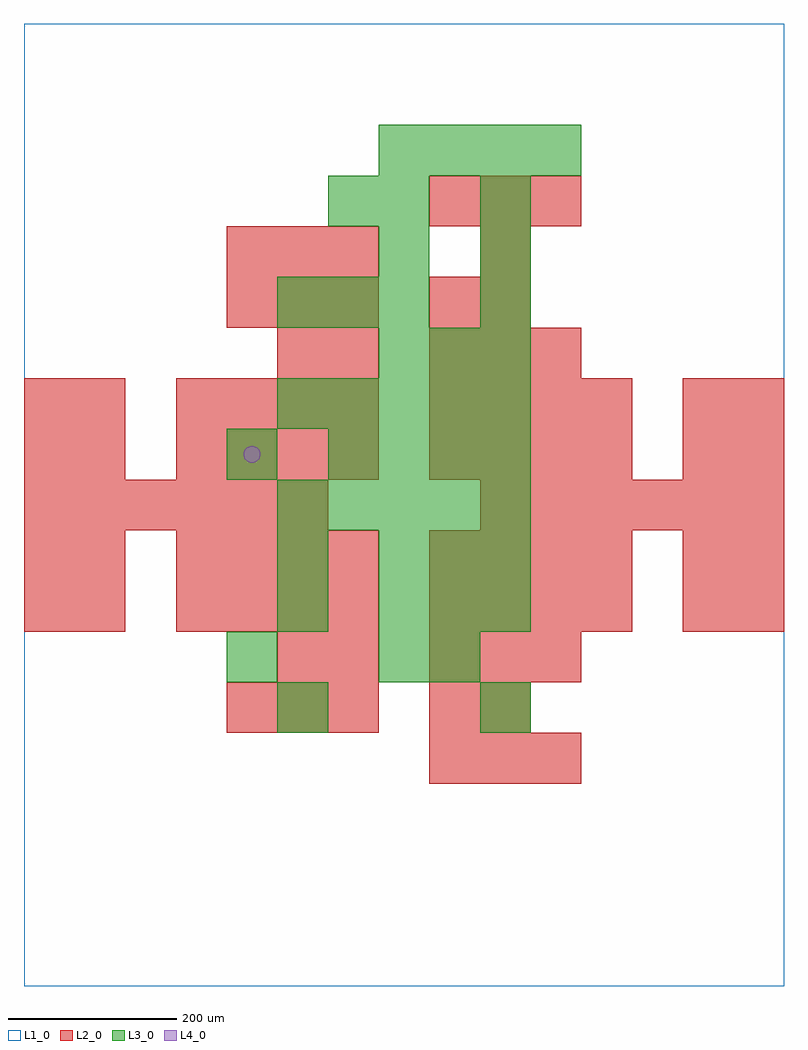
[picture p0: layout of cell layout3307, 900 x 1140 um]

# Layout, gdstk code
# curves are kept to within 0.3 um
import gdstk
lib = gdstk.Library(unit=1e-6, precision=1e-09)
def R(c, l, rs):  # rectangles x0, y0, x1, y1
    for r in rs: c.add(gdstk.rectangle(r[:2], r[2:], *l))
def A(c, l, x, y, w, h, nx, ny, dx, dy):  # array of equal rectangles
    R(c, l, [(x+i*dx, y+j*dy, x+i*dx+w, y+j*dy+h) for i in range(nx) for j in range(ny)])
def P(c, l, *ps):  # polygons
    for p in ps: c.add(gdstk.Polygon(p, *l))
L1_0 = (1, 0)
L2_0 = (2, 0)
L3_0 = (3, 0)
L4_0 = (4, 0)

layout3307 = lib.new_cell('layout3307')
R(layout3307, L1_0, [(0,0,900,1140)])
A(layout3307, L2_0, 480, 240, 60, 60, 3, 2, 60, 120)
A(layout3307, L2_0, 240, 300, 60, 60, 3, 2, 60, 480)
A(layout3307, L2_0, 180, 420, 60, 60, 4, 2, 60, 60)
A(layout3307, L2_0, 480, 420, 60, 60, 4, 2, 60, 60)
A(layout3307, L2_0, 0, 540, 60, 60, 6, 1, 60, 0)
A(layout3307, L2_0, 540, 540, 60, 60, 6, 1, 60, 0)
A(layout3307, L2_0, 180, 600, 60, 60, 4, 2, 60, 60)
A(layout3307, L2_0, 480, 600, 60, 60, 4, 2, 60, 60)
A(layout3307, L2_0, 480, 720, 60, 60, 3, 2, 60, 180)
A(layout3307, L2_0, 240, 840, 60, 60, 3, 1, 60, 0)
R(layout3307, L2_0, [(480,300,540,360), (540,300,600,360), (300,360,360,420), (360,360,420,420), (0,420,60,480), (60,420,120,480), (780,420,840,480), (840,420,900,480), (0,480,60,540), (60,480,120,540), (780,480,840,540), (840,480,900,540), (0,600,60,660), (60,600,120,660), (780,600,840,660), (840,600,900,660), (0,660,60,720), (60,660,120,720), (780,660,840,720), (840,660,900,720), (300,720,360,780), (360,720,420,780), (480,780,540,840), (540,780,600,840), (540,840,600,900)])
A(layout3307, L3_0, 420, 420, 60, 60, 3, 2, 60, 60)
A(layout3307, L3_0, 300, 540, 60, 60, 5, 2, 60, 120)
A(layout3307, L3_0, 360, 600, 60, 60, 4, 1, 60, 0)
A(layout3307, L3_0, 420, 720, 60, 60, 3, 1, 60, 0)
A(layout3307, L3_0, 300, 780, 60, 60, 3, 1, 60, 0)
A(layout3307, L3_0, 540, 780, 60, 60, 1, 3, 0, 60)
A(layout3307, L3_0, 420, 960, 60, 60, 4, 1, 60, 0)
R(layout3307, L3_0, [(300,300,360,360), (540,300,600,360), (240,360,300,420), (420,360,480,420), (480,360,540,420), (300,420,360,480), (300,480,360,540), (240,600,300,660), (420,840,480,900), (360,900,420,960), (420,900,480,960)])
P(layout3307, L4_0, [(280,630),(279.239,633.827),(277.071,637.071),(273.827,639.239),(270,640),(266.173,639.239),(262.929,637.071),(260.761,633.827),(260,630),(260.761,626.173),(262.929,622.929),(266.173,620.761),(270,620),(273.827,620.761),(277.071,622.929),(279.239,626.173)])

lib.write_gds('layout3307.gds')
